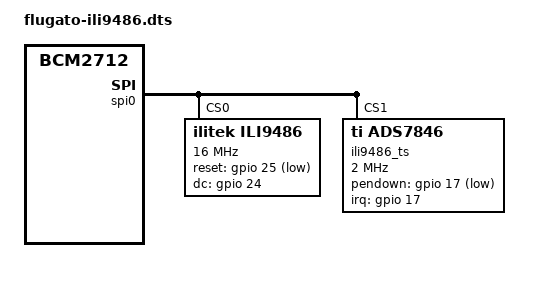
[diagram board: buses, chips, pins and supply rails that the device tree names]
// SPDX-License-Identifier: GPL-2.0-only
/*
 * Overlay for the 3.5" 480x320 SPI panel sold as "3.5 Inch TFT Touch LCD Display Module
 * 480x320 SPI Interface XPT2046 Touch IC" (the "RPi LCD (A)" kind): ILI9486 with 16-bit
 * registers on CE0, XPT2046 (ADS7846-compatible) touch on CE1, DC GPIO 24, reset GPIO 25,
 * touch interrupt GPIO 17, no backlight control. Found on a Raspberry Pi 4 (2026-10-18):
 * - BGR colour order (red and blue swapped without it)
 * - rotate 270 puts the picture upright with the Pi's USB ports on the right
 * - the pen-down line is ACTIVE LOW: the overlays that circulate for this panel declare it
 *   active high, which the current ads7846 driver takes literally; it then reads the chip
 *   only while nobody touches (hundreds of interrupts a second, never a touch event)
 *
 * Build: dtc -@ -I dts -O dtb -o flugato-ili9486.dtbo flugato-ili9486.dts
 * Use:   PANEL=ili9486 in flugato.conf; pi/setup.sh builds it and sets dtoverlay=flugato-ili9486
 */

/dts-v1/;
/plugin/;

/ {
	compatible = "brcm,bcm2835", "brcm,bcm2708", "brcm,bcm2709", "brcm,bcm2711", "brcm,bcm2712";

	fragment@0 {
		target = <&spi0>;
		__overlay__ {
			status = "okay";
		};
	};

	fragment@1 {
		target = <&spidev0>;
		__overlay__ {
			status = "disabled";
		};
	};

	fragment@2 {
		target = <&spidev1>;
		__overlay__ {
			status = "disabled";
		};
	};

	fragment@3 {
		target = <&gpio>;
		__overlay__ {
			ili9486_pins: ili9486_pins {
				brcm,pins = <17 24 25>;
				brcm,function = <0 1 1>; /* in out out */
			};
		};
	};

	fragment@4 {
		target = <&spi0>;
		__overlay__ {
			#address-cells = <1>;
			#size-cells = <0>;

			ili9486: ili9486@0 {
				compatible = "ilitek,ili9486";
				reg = <0>;
				pinctrl-names = "default";
				pinctrl-0 = <&ili9486_pins>;

				spi-max-frequency = <16000000>;
				txbuflen = <32768>;
				rotate = <270>;
				bgr;
				fps = <30>;
				buswidth = <8>;
				regwidth = <16>;
				reset-gpios = <&gpio 25 1>;	/* active low */
				dc-gpios = <&gpio 24 0>;
				debug = <0>;

				init = <0x10000b0 0x00
					0x1000011
					0x20000ff
					0x100003a 0x55
					0x1000036 0x28
					0x10000c2 0x44
					0x10000c5 0x00 0x00 0x00 0x00
					0x10000e0 0x0f 0x1f 0x1c 0x0c 0x0f 0x08 0x48 0x98 0x37 0x0a 0x13 0x04 0x11 0x0d 0x00
					0x10000e1 0x0f 0x32 0x2e 0x0b 0x0d 0x05 0x47 0x75 0x37 0x06 0x10 0x03 0x24 0x20 0x00
					0x10000e2 0x0f 0x32 0x2e 0x0b 0x0d 0x05 0x47 0x75 0x37 0x06 0x10 0x03 0x24 0x20 0x00
					0x1000036 0x28
					0x1000011
					0x1000029>;
			};

			ili9486_ts: ili9486_ts@1 {
				compatible = "ti,ads7846";
				reg = <1>;

				spi-max-frequency = <2000000>;
				interrupts = <17 2>; /* high-to-low edge triggered */
				interrupt-parent = <&gpio>;
				pendown-gpio = <&gpio 17 1>;	/* active low */

				ti,x-plate-ohms = /bits/ 16 <60>;
				ti,pressure-max = /bits/ 16 <255>;
			};
		};
	};

	__overrides__ {
		speed =    <&ili9486>, "spi-max-frequency:0";
		rotate =   <&ili9486>, "rotate:0";
		fps =      <&ili9486>, "fps:0";
		debug =    <&ili9486>, "debug:0";
		txbuflen = <&ili9486>, "txbuflen:0";
		swapxy =   <&ili9486_ts>, "ti,swap-xy?";
	};
};
